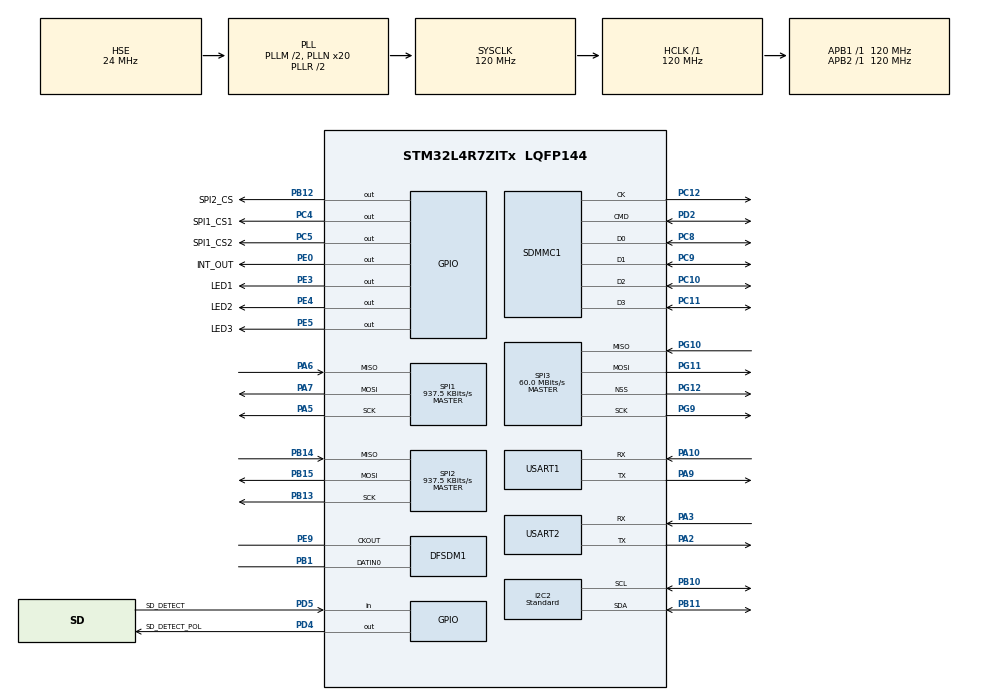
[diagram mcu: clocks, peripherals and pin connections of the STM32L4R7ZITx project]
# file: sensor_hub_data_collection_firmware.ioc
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ARM.CMSIS.5.6.0.CMSISJjDSP=Library
DFSDM1.Divider=40
DFSDM1.DmaMode_reg_FIL0=ENABLE
DFSDM1.FastMode_reg_FIL0=ENABLE
DFSDM1.Filter_regChannel_FIL0=DFSDM_CHANNEL_0
DFSDM1.Fosr_FIL0=68
DFSDM1.SincOrder_FIL0=DFSDM_FILTER_SINC3_ORDER
Dma.DFSDM1_FLT0.0.Direction=DMA_PERIPH_TO_MEMORY
Dma.DFSDM1_FLT0.0.EventEnable=DISABLE
Dma.DFSDM1_FLT0.0.Instance=DMA1_Channel1
Dma.DFSDM1_FLT0.0.MemDataAlignment=DMA_MDATAALIGN_WORD
Dma.DFSDM1_FLT0.0.MemInc=DMA_MINC_ENABLE
Dma.DFSDM1_FLT0.0.Mode=DMA_CIRCULAR
Dma.DFSDM1_FLT0.0.PeriphDataAlignment=DMA_PDATAALIGN_WORD
Dma.DFSDM1_FLT0.0.PeriphInc=DMA_PINC_DISABLE
Dma.DFSDM1_FLT0.0.Polarity=HAL_DMAMUX_REQUEST_GEN_RISING
Dma.DFSDM1_FLT0.0.Priority=DMA_PRIORITY_LOW
Dma.DFSDM1_FLT0.0.RequestNumber=1
Dma.DFSDM1_FLT0.0.SignalID=NONE
Dma.DFSDM1_FLT0.0.SyncEnable=DISABLE
Dma.DFSDM1_FLT0.0.SyncPolarity=HAL_DMAMUX_SYNC_NO_EVENT
Dma.DFSDM1_FLT0.0.SyncRequestNumber=1
Dma.DFSDM1_FLT0.0.SyncSignalID=NONE
Dma.Request0=DFSDM1_FLT0
Dma.Request1=SPI1_RX
Dma.Request2=SPI1_TX
Dma.Request3=SPI2_RX
Dma.Request4=SPI2_TX
Dma.SPI1_RX.1.Direction=DMA_PERIPH_TO_MEMORY
Dma.SPI1_RX.1.EventEnable=DISABLE
Dma.SPI1_RX.1.Instance=DMA1_Channel2
Dma.SPI1_RX.1.MemDataAlignment=DMA_MDATAALIGN_BYTE
Dma.SPI1_RX.1.MemInc=DMA_MINC_ENABLE
Dma.SPI1_RX.1.Mode=DMA_NORMAL
Dma.SPI1_RX.1.PeriphDataAlignment=DMA_PDATAALIGN_BYTE
Dma.SPI1_RX.1.PeriphInc=DMA_PINC_DISABLE
Dma.SPI1_RX.1.Polarity=HAL_DMAMUX_REQUEST_GEN_RISING
Dma.SPI1_RX.1.Priority=DMA_PRIORITY_LOW
Dma.SPI1_RX.1.RequestNumber=1
Dma.SPI1_RX.1.SignalID=NONE
Dma.SPI1_RX.1.SyncEnable=DISABLE
Dma.SPI1_RX.1.SyncPolarity=HAL_DMAMUX_SYNC_NO_EVENT
Dma.SPI1_RX.1.SyncRequestNumber=1
Dma.SPI1_RX.1.SyncSignalID=NONE
Dma.SPI1_TX.2.Direction=DMA_MEMORY_TO_PERIPH
Dma.SPI1_TX.2.EventEnable=DISABLE
Dma.SPI1_TX.2.Instance=DMA1_Channel3
Dma.SPI1_TX.2.MemDataAlignment=DMA_MDATAALIGN_BYTE
Dma.SPI1_TX.2.MemInc=DMA_MINC_ENABLE
Dma.SPI1_TX.2.Mode=DMA_NORMAL
Dma.SPI1_TX.2.PeriphDataAlignment=DMA_PDATAALIGN_BYTE
Dma.SPI1_TX.2.PeriphInc=DMA_PINC_DISABLE
Dma.SPI1_TX.2.Polarity=HAL_DMAMUX_REQUEST_GEN_RISING
Dma.SPI1_TX.2.Priority=DMA_PRIORITY_LOW
Dma.SPI1_TX.2.RequestNumber=1
Dma.SPI1_TX.2.SignalID=NONE
Dma.SPI1_TX.2.SyncEnable=DISABLE
Dma.SPI1_TX.2.SyncPolarity=HAL_DMAMUX_SYNC_NO_EVENT
Dma.SPI1_TX.2.SyncRequestNumber=1
Dma.SPI1_TX.2.SyncSignalID=NONE
Dma.SPI2_RX.3.Direction=DMA_PERIPH_TO_MEMORY
Dma.SPI2_RX.3.EventEnable=DISABLE
Dma.SPI2_RX.3.Instance=DMA1_Channel4
Dma.SPI2_RX.3.MemDataAlignment=DMA_MDATAALIGN_BYTE
Dma.SPI2_RX.3.MemInc=DMA_MINC_ENABLE
Dma.SPI2_RX.3.Mode=DMA_NORMAL
Dma.SPI2_RX.3.PeriphDataAlignment=DMA_PDATAALIGN_BYTE
Dma.SPI2_RX.3.PeriphInc=DMA_PINC_DISABLE
Dma.SPI2_RX.3.Polarity=HAL_DMAMUX_REQUEST_GEN_RISING
Dma.SPI2_RX.3.Priority=DMA_PRIORITY_LOW
Dma.SPI2_RX.3.RequestNumber=1
Dma.SPI2_RX.3.SignalID=NONE
Dma.SPI2_RX.3.SyncEnable=DISABLE
Dma.SPI2_RX.3.SyncPolarity=HAL_DMAMUX_SYNC_NO_EVENT
Dma.SPI2_RX.3.SyncRequestNumber=1
Dma.SPI2_RX.3.SyncSignalID=NONE
Dma.SPI2_TX.4.Direction=DMA_MEMORY_TO_PERIPH
Dma.SPI2_TX.4.EventEnable=DISABLE
Dma.SPI2_TX.4.Instance=DMA1_Channel5
Dma.SPI2_TX.4.MemDataAlignment=DMA_MDATAALIGN_BYTE
Dma.SPI2_TX.4.MemInc=DMA_MINC_ENABLE
Dma.SPI2_TX.4.Mode=DMA_NORMAL
Dma.SPI2_TX.4.PeriphDataAlignment=DMA_PDATAALIGN_BYTE
Dma.SPI2_TX.4.PeriphInc=DMA_PINC_DISABLE
Dma.SPI2_TX.4.Polarity=HAL_DMAMUX_REQUEST_GEN_RISING
Dma.SPI2_TX.4.Priority=DMA_PRIORITY_LOW
Dma.SPI2_TX.4.RequestNumber=1
Dma.SPI2_TX.4.SignalID=NONE
Dma.SPI2_TX.4.SyncEnable=DISABLE
Dma.SPI2_TX.4.SyncPolarity=HAL_DMAMUX_SYNC_NO_EVENT
Dma.SPI2_TX.4.SyncRequestNumber=1
Dma.SPI2_TX.4.SyncSignalID=NONE
FATFS.BSP.number=1
FATFS.USE_DMA_CODE_SD=1
FATFS._USE_LFN=2
FATFS._USE_MUTEX=1
FATFS0.BSP.STBoard=false
FATFS0.BSP.api=Unknown
FATFS0.BSP.instance=PD5
FATFS0.BSP.ip=GPIO
FATFS0.BSP.mode=Input
FATFS0.BSP.name=Detect_SDIO
FATFS0.BSP.solution=PD5
FREERTOS.BinarySemaphores01=spi1_sem,Dynamic,NULL,Depleted;spi2_sem,Dynamic,NULL,Depleted;i2c2_sem,Dynamic,NULL,Depleted
FREERTOS.CountingSemaphores01=file_system_ready,3,Dynamic,NULL,0;task_finished,3,Dynamic,NULL,0
FREERTOS.Mutexes01=fileMutex,Dynamic,NULL,Available
FREERTOS.Queues01=audioBufferReadyQueue,1,int32_t*,0,Dynamic,NULL,NULL;audio_file_empty_buf,32,float *,0,Dynamic,NULL,NULL;audio_file_full_buf,32,float *,0,Dynamic,NULL,NULL
FREERTOS.Tasks01=defaultTask,10,512,StartDefaultTask,Default,NULL,Dynamic,NULL,NULL;audio_buf_task,24,256,StartAudioBufTask,As external,NULL,Dynamic,NULL,NULL;audio_file_task,23,512,StartAudioFileTask,As external,NULL,Dynamic,NULL,NULL;mag_task,32,512,StartMagTask,As external,NULL,Dynamic,NULL,NULL;cam_task,22,1024,StartCamTask,As external,NULL,Dynamic,NULL,NULL
FREERTOS.configCHECK_FOR_STACK_OVERFLOW=2
FREERTOS.configENABLE_BACKWARD_COMPATIBILITY=0
FREERTOS.configENABLE_FPU=1
FREERTOS.configGENERATE_RUN_TIME_STATS=0
FREERTOS.configMAX_TASK_NAME_LEN=32
FREERTOS.configRECORD_STACK_HIGH_ADDRESS=1
FREERTOS.configTOTAL_HEAP_SIZE=100000
FREERTOS.configUSE_NEWLIB_REENTRANT=1
FREERTOS.configUSE_PREEMPTION=1
FREERTOS.configUSE_STATS_FORMATTING_FUNCTIONS=0
I2C2.I2C_Speed_Mode=I2C_Standard
I2C2.Timing=0x30A175AB
Mcu.Family=STM32L4
Mcu.Name=STM32L4R7ZITx
Mcu.Package=LQFP144
NVIC.DMA1_Channel1_IRQn=true\:7\:0\:true\:false\:true\:true\:false\:true\:true
NVIC.DMA1_Channel2_IRQn=true\:5\:0\:true\:false\:true\:true\:false\:true\:true
NVIC.DMA1_Channel3_IRQn=true\:5\:0\:true\:false\:true\:true\:false\:true\:true
NVIC.DMA1_Channel4_IRQn=true\:7\:0\:true\:false\:true\:true\:false\:true\:true
NVIC.DMA1_Channel5_IRQn=true\:7\:0\:true\:false\:true\:true\:false\:true\:true
NVIC.I2C2_ER_IRQn=true\:7\:0\:true\:false\:true\:true\:true\:true\:true
NVIC.I2C2_EV_IRQn=true\:7\:0\:true\:false\:true\:true\:true\:true\:true
NVIC.PriorityGroup=NVIC_PRIORITYGROUP_4
NVIC.SDMMC1_IRQn=true\:12\:0\:true\:false\:true\:true\:true\:true\:true
NVIC.TIM1_UP_TIM16_IRQn=true\:15\:0\:false\:false\:true\:false\:false\:true\:true
NVIC.TimeBase=TIM1_UP_TIM16_IRQn
NVIC.TimeBaseIP=TIM1
PA10.Mode=Asynchronous
PA10.Signal=USART1_RX
PA13\ (JTMS/SWDIO).Mode=Serial_Wire
PA13\ (JTMS/SWDIO).Signal=SYS_JTMS-SWDIO
PA14\ (JTCK/SWCLK).Mode=Serial_Wire
PA14\ (JTCK/SWCLK).Signal=SYS_JTCK-SWCLK
PA2.Mode=Asynchronous
PA2.Signal=USART2_TX
PA3.Mode=Asynchronous
PA3.Signal=USART2_RX
PA5.GPIO_Speed=GPIO_SPEED_FREQ_LOW
PA5.Mode=Full_Duplex_Master
PA5.Signal=SPI1_SCK
PA6.GPIO_Speed=GPIO_SPEED_FREQ_LOW
PA6.Mode=Full_Duplex_Master
PA6.Signal=SPI1_MISO
PA7.GPIO_Speed=GPIO_SPEED_FREQ_LOW
PA7.Mode=Full_Duplex_Master
PA7.Signal=SPI1_MOSI
PA9.Mode=Asynchronous
PA9.Signal=USART1_TX
PB1.Signal=S_DATAIN0DFSDM1
PB10.GPIO_Pu=GPIO_PULLUP
PB10.Mode=I2C
PB10.Signal=I2C2_SCL
PB11.GPIO_Pu=GPIO_PULLUP
PB11.Mode=I2C
PB11.Signal=I2C2_SDA
PB12.GPIO_Label=SPI2_CS
PB12.PinState=GPIO_PIN_SET
PB12.Signal=GPIO_Output
PB13.Mode=Full_Duplex_Master
PB13.Signal=SPI2_SCK
PB14.Mode=Full_Duplex_Master
PB14.Signal=SPI2_MISO
PB15.Mode=Full_Duplex_Master
PB15.Signal=SPI2_MOSI
PC10.GPIO_PuPd=GPIO_PULLUP
PC10.Mode=SD_4_bits_Wide_bus
PC10.Signal=SDMMC1_D2
PC11.GPIO_PuPd=GPIO_PULLUP
PC11.Mode=SD_4_bits_Wide_bus
PC11.Signal=SDMMC1_D3
PC12.Mode=SD_4_bits_Wide_bus
PC12.Signal=SDMMC1_CK
PC14-OSC32_IN\ (PC14).Mode=LSE-External-Oscillator
PC14-OSC32_IN\ (PC14).Signal=RCC_OSC32_IN
PC15-OSC32_OUT\ (PC15).Mode=LSE-External-Oscillator
PC15-OSC32_OUT\ (PC15).Signal=RCC_OSC32_OUT
PC4.GPIO_Label=SPI1_CS1
PC4.PinState=GPIO_PIN_SET
PC4.Signal=GPIO_Output
PC5.GPIO_Label=SPI1_CS2
PC5.PinState=GPIO_PIN_SET
PC5.Signal=GPIO_Output
PC8.GPIO_PuPd=GPIO_PULLUP
PC8.Mode=SD_4_bits_Wide_bus
PC8.Signal=SDMMC1_D0
PC9.GPIO_PuPd=GPIO_PULLUP
PC9.Mode=SD_4_bits_Wide_bus
PC9.Signal=SDMMC1_D1
PD2.GPIO_PuPd=GPIO_PULLUP
PD2.Mode=SD_4_bits_Wide_bus
PD2.Signal=SDMMC1_CMD
PD4.GPIO_Label=SD_DETECT_POL
PD4.PinState=GPIO_PIN_RESET
PD4.Signal=GPIO_Output
PD5.GPIO_Label=SD_DETECT
PD5.GPIO_PuPd=GPIO_PULLUP
PD5.Signal=GPIO_Input
PE0.GPIO_Label=INT_OUT
PE0.Signal=GPIO_Output
PE3.GPIO_Label=LED1
PE3.Signal=GPIO_Output
PE4.GPIO_Label=LED2
PE4.Signal=GPIO_Output
PE5.GPIO_Label=LED3
PE5.Signal=GPIO_Output
PE9.Signal=S_CKOUTDFSDM1
PG10.Mode=Full_Duplex_Master
PG10.Signal=SPI3_MISO
PG11.Mode=Full_Duplex_Master
PG11.Signal=SPI3_MOSI
PG12.Mode=NSS_Signal_Hard_Output
PG12.Signal=SPI3_NSS
PG9.Mode=Full_Duplex_Master
PG9.Signal=SPI3_SCK
PH0-OSC_IN\ (PH0).Mode=HSE-External-Oscillator
PH0-OSC_IN\ (PH0).Signal=RCC_OSC_IN
PH1-OSC_OUT\ (PH1).Mode=HSE-External-Oscillator
PH1-OSC_OUT\ (PH1).Signal=RCC_OSC_OUT
ProjectManager.HeapSize=0x400
ProjectManager.StackSize=0x800
ProjectManager.TargetToolchain=STM32CubeIDE
RCC.ADCFreq_Value=96000000
RCC.AHBFreq_Value=120000000
RCC.APB1Freq_Value=120000000
RCC.APB1TimFreq_Value=120000000
RCC.APB2Freq_Value=120000000
RCC.APB2TimFreq_Value=120000000
RCC.CortexFreq_Value=120000000
RCC.HCLKFreq_Value=120000000
RCC.HSE_VALUE=24000000
RCC.HSI48_VALUE=48000000
RCC.HSI_VALUE=16000000
RCC.LSE_Drive_Capability=RCC_LSEDRIVE_MEDIUMLOW
RCC.MSI_VALUE=4000000
RCC.PLLM1=2
RCC.PLLN=20
RCC.PLLSourceVirtual=RCC_PLLSOURCE_HSE
RCC.RTCClockSelection=RCC_RTCCLKSOURCE_LSE
RCC.SYSCLKFreq_VALUE=120000000
RCC.SYSCLKSource=RCC_SYSCLKSOURCE_PLLCLK
RCC.USBFreq_Value=96000000
RCC.VCOOutputFreq_Value=240000000
RTC.AsynchPrediv=127
SDMMC1.ClockDiv=3
SDMMC1.ClockPowerSave=SDMMC_CLOCK_POWER_SAVE_ENABLE
SDMMC1.HardwareFlowControl=SDMMC_HARDWARE_FLOW_CONTROL_DISABLE
SH.S_CKOUTDFSDM1.0=DFSDM1_CKOUT,PDM_SPI_input_from_ch0_and_internal_clock
SH.S_CKOUTDFSDM1.1=DFSDM1_CKOUT,CKOUT
SH.S_DATAIN0DFSDM1.0=DFSDM1_DATIN0,PDM_SPI_input_from_ch0_and_internal_clock
SPI1.BaudRatePrescaler=SPI_BAUDRATEPRESCALER_128
SPI1.CLKPhase=SPI_PHASE_2EDGE
SPI1.CLKPolarity=SPI_POLARITY_HIGH
SPI1.CalculateBaudRate=937.5 KBits/s
SPI1.DataSize=SPI_DATASIZE_8BIT
SPI1.Direction=SPI_DIRECTION_2LINES
SPI1.Mode=SPI_MODE_MASTER
SPI1.VirtualType=VM_MASTER
SPI2.BaudRatePrescaler=SPI_BAUDRATEPRESCALER_128
SPI2.CalculateBaudRate=937.5 KBits/s
SPI2.DataSize=SPI_DATASIZE_8BIT
SPI2.Direction=SPI_DIRECTION_2LINES
SPI2.Mode=SPI_MODE_MASTER
SPI2.NSSPMode=SPI_NSS_PULSE_ENABLE
SPI2.TIMode=SPI_TIMODE_DISABLE
SPI2.VirtualType=VM_MASTER
SPI3.CalculateBaudRate=60.0 MBits/s
SPI3.Direction=SPI_DIRECTION_2LINES
SPI3.Mode=SPI_MODE_MASTER
SPI3.VirtualNSS=VM_NSSHARD
SPI3.VirtualType=VM_MASTER
USART1.VirtualMode-Asynchronous=VM_ASYNC
USART2.VirtualMode-Asynchronous=VM_ASYNC
VP_ARM.CMSIS_VS_CMSISJjDSP_1.7.0_5.6.0.Mode=CMSISJjDSP
VP_FATFS_VS_SDIO.Mode=SDIO
VP_FREERTOS_VS_CMSIS_V2.Mode=CMSIS_V2
VP_RTC_VS_RTC_Activate.Mode=RTC_Enabled
VP_SYS_VS_tim1.Mode=TIM1
board=custom

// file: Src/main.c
/* USER CODE BEGIN Header */
/**
  ******************************************************************************
  * @file           : main.c
  * @brief          : Main program body
  ******************************************************************************
  * @attention
  *
  * Copyright (c) 2024 STMicroelectronics.
  * All rights reserved.
  *
  * This software is licensed under terms that can be found in the LICENSE file
  * in the root directory of this software component.
  * If no LICENSE file comes with this software, it is provided AS-IS.
  *
  ******************************************************************************
  */
/* USER CODE END Header */
#include "main.h"
#include "cmsis_os.h"
#include "dfsdm.h"
#include "dma.h"
#include "fatfs.h"
#include "i2c.h"
#include "rtc.h"
#include "sdmmc.h"
#include "spi.h"
#include "usart.h"
#include "gpio.h"

/* USER CODE BEGIN Includes */
#include "timestamp.h"
#include "freertos_vars.h"
#include "arducam.h"
#include <stdio.h>
#include <string.h>
#include <stdbool.h>

/* USER CODE END Includes */

void SystemClock_Config(void);
void MX_FREERTOS_Init(void);

int main(void)
{

  /* MCU Configuration--------------------------------------------------------*/

  /* Reset of all peripherals, Initializes the Flash interface and the Systick. */
  HAL_Init();

  /* Configure the system clock */
  SystemClock_Config();

  /* Initialize all configured peripherals */
  MX_GPIO_Init();
  MX_DMA_Init();
  MX_DFSDM1_Init();
  MX_I2C2_Init();
  MX_SDMMC1_SD_Init();
  MX_SPI1_Init();
  MX_SPI2_Init();
  MX_SPI3_Init();
  MX_FATFS_Init();
  MX_USART1_UART_Init();
  MX_USART2_UART_Init();
  MX_RTC_Init();
  /* USER CODE BEGIN 2 */
  printf("this firmware was compiled on %s at %s\n", __DATE__, __TIME__);

  //RTC time
#if 0 //set RTC time
  RTC_TimeTypeDef sTime = {0};
  RTC_DateTypeDef sDate = {0};
  HAL_RTC_GetTime(&hrtc, &sTime, RTC_FORMAT_BIN);
  HAL_RTC_GetDate(&hrtc, &sDate, RTC_FORMAT_BIN);
  sTime.Seconds = 20;
  sTime.Minutes = 19;
  sTime.Hours = 12;
  sDate.Date = 4;
  sDate.Month = 9;
  sDate.Year = 44;
  sDate.WeekDay = RTC_WEEKDAY_WEDNESDAY;
  HAL_RTC_SetTime(&hrtc, &sTime, RTC_FORMAT_BIN);
  HAL_RTC_SetDate(&hrtc, &sDate, RTC_FORMAT_BIN);
#endif
  TimeStamp_AquireTime();
  char timestamp[50]; //need 21 bytes
  TimeStamp_GetTimeStampString(timestamp);
  printf("timestamp is %s\n", timestamp);
  printf("rtc CR register value: %lu\n", hrtc.Instance->CR);

  //enable backup battery charging
  HAL_PWREx_EnableBatteryCharging(PWR_BATTERY_CHARGING_RESISTOR_5);

  //prime spi ports with dummy transfers
  const uint8_t tx_data_dummy[] = {0x0,0x0};
  uint8_t rx_data[] = {0,0};
  HAL_SPI_TransmitReceive(&hspi2, tx_data_dummy, rx_data, sizeof(tx_data_dummy), 1); //prime cam spi port
  HAL_SPI_TransmitReceive(&hspi1, tx_data_dummy, rx_data, sizeof(tx_data_dummy), 1); //prime mag spi port

  /* USER CODE END 2 */

  /* Init scheduler */
  osKernelInitialize();

  /* Call init function for freertos objects (in cmsis_os2.c) */
  MX_FREERTOS_Init();

  /* Start scheduler */
  osKernelStart();

  /* We should never get here as control is now taken by the scheduler */

  /* Infinite loop */
  while (1)
  {

  }
}

void SystemClock_Config(void)
{
  RCC_OscInitTypeDef RCC_OscInitStruct = {0};
  RCC_ClkInitTypeDef RCC_ClkInitStruct = {0};

  /** Configure the main internal regulator output voltage
  */
  if (HAL_PWREx_ControlVoltageScaling(PWR_REGULATOR_VOLTAGE_SCALE1_BOOST) != HAL_OK)
  {
    Error_Handler();
  }

  /** Configure LSE Drive Capability
  */
  HAL_PWR_EnableBkUpAccess();
  __HAL_RCC_LSEDRIVE_CONFIG(RCC_LSEDRIVE_MEDIUMLOW);

  /** Initializes the RCC Oscillators according to the specified parameters
  * in the RCC_OscInitTypeDef structure.
  */
  RCC_OscInitStruct.OscillatorType = RCC_OSCILLATORTYPE_HSE|RCC_OSCILLATORTYPE_LSE;
  RCC_OscInitStruct.HSEState = RCC_HSE_ON;
  RCC_OscInitStruct.LSEState = RCC_LSE_ON;
  RCC_OscInitStruct.PLL.PLLState = RCC_PLL_ON;
  RCC_OscInitStruct.PLL.PLLSource = RCC_PLLSOURCE_HSE;
  RCC_OscInitStruct.PLL.PLLM = 2;
  RCC_OscInitStruct.PLL.PLLN = 20;
  RCC_OscInitStruct.PLL.PLLP = RCC_PLLP_DIV2;
  RCC_OscInitStruct.PLL.PLLQ = RCC_PLLQ_DIV2;
  RCC_OscInitStruct.PLL.PLLR = RCC_PLLR_DIV2;
  if (HAL_RCC_OscConfig(&RCC_OscInitStruct) != HAL_OK)
  {
    Error_Handler();
  }

  /** Initializes the CPU, AHB and APB buses clocks
  */
  RCC_ClkInitStruct.ClockType = RCC_CLOCKTYPE_HCLK|RCC_CLOCKTYPE_SYSCLK
                              |RCC_CLOCKTYPE_PCLK1|RCC_CLOCKTYPE_PCLK2;
  RCC_ClkInitStruct.SYSCLKSource = RCC_SYSCLKSOURCE_PLLCLK;
  RCC_ClkInitStruct.AHBCLKDivider = RCC_SYSCLK_DIV1;
  RCC_ClkInitStruct.APB1CLKDivider = RCC_HCLK_DIV1;
  RCC_ClkInitStruct.APB2CLKDivider = RCC_HCLK_DIV1;

  if (HAL_RCC_ClockConfig(&RCC_ClkInitStruct, FLASH_LATENCY_5) != HAL_OK)
  {
    Error_Handler();
  }
}

/* USER CODE BEGIN 4 */

int _write(int file, char *ptr, int len)
{
  (void)file;

  HAL_UART_Transmit(&huart2, (const uint8_t *)ptr, len, 10);
  return len;
}

static inline void SpiCallback(SPI_HandleTypeDef *hspi) {
  if (hspi == &hspi1) { //mags
    osSemaphoreRelease(spi1_semHandle);
  } else if (hspi == &hspi2) { //cam
    osSemaphoreRelease(spi2_semHandle);
  }
}

void HAL_SPI_TxRxCpltCallback(SPI_HandleTypeDef *hspi) {
  SpiCallback(hspi);
}

void HAL_SPI_RxCpltCallback(SPI_HandleTypeDef *hspi) {
  SpiCallback(hspi);
}

void HAL_SPI_TxCpltCallback(SPI_HandleTypeDef *hspi) {
  SpiCallback(hspi);
}

void HAL_I2C_MasterTxCpltCallback(I2C_HandleTypeDef *hi2c) {
  if (hi2c == &hi2c2) {
    osSemaphoreRelease(i2c2_semHandle);
  }
}

void HAL_I2C_MasterRxCpltCallback(I2C_HandleTypeDef *hi2c) {
  if (hi2c == &hi2c2) {
    osSemaphoreRelease(i2c2_semHandle);
  }
}

void HAL_I2C_ErrorCallback(I2C_HandleTypeDef *hi2c) {
  printf("i2c error\n");
  if (hi2c == &hi2c2) {
    osSemaphoreRelease(i2c2_semHandle);
  }
}

/* USER CODE END 4 */

void HAL_TIM_PeriodElapsedCallback(TIM_HandleTypeDef *htim)
{
  if (htim->Instance == TIM1) {
    HAL_IncTick();
  }
}

void Error_Handler(void)
{
  __disable_irq();
  while (1)
  {
  }
}

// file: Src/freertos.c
/* USER CODE BEGIN Header */
/**
  ******************************************************************************
  * File Name          : freertos.c
  * Description        : Code for freertos applications
  ******************************************************************************
  * @attention
  *
  * Copyright (c) 2024 STMicroelectronics.
  * All rights reserved.
  *
  * This software is licensed under terms that can be found in the LICENSE file
  * in the root directory of this software component.
  * If no LICENSE file comes with this software, it is provided AS-IS.
  *
  ******************************************************************************
  */
/* USER CODE END Header */

#include "FreeRTOS.h"
#include "task.h"
#include "main.h"
#include "cmsis_os.h"

/* USER CODE BEGIN Includes */
#include "fatfs.h"
#include "spi.h"
#include <stdio.h>
#include <string.h>
/* USER CODE END Includes */

/* Definitions for defaultTask */
osThreadId_t defaultTaskHandle;
const osThreadAttr_t defaultTask_attributes = {
  .name = "defaultTask",
  .stack_size = 512 * 4,
  .priority = (osPriority_t) osPriorityLow2,
};
/* Definitions for audio_buf_task */
osThreadId_t audio_buf_taskHandle;
const osThreadAttr_t audio_buf_task_attributes = {
  .name = "audio_buf_task",
  .stack_size = 256 * 4,
  .priority = (osPriority_t) osPriorityNormal,
};
/* Definitions for audio_file_task */
osThreadId_t audio_file_taskHandle;
const osThreadAttr_t audio_file_task_attributes = {
  .name = "audio_file_task",
  .stack_size = 512 * 4,
  .priority = (osPriority_t) osPriorityBelowNormal7,
};
/* Definitions for mag_task */
osThreadId_t mag_taskHandle;
const osThreadAttr_t mag_task_attributes = {
  .name = "mag_task",
  .stack_size = 512 * 4,
  .priority = (osPriority_t) osPriorityAboveNormal,
};
/* Definitions for cam_task */
osThreadId_t cam_taskHandle;
const osThreadAttr_t cam_task_attributes = {
  .name = "cam_task",
  .stack_size = 1024 * 4,
  .priority = (osPriority_t) osPriorityBelowNormal6,
};
/* Definitions for audioBufferReadyQueue */
osMessageQueueId_t audioBufferReadyQueueHandle;
const osMessageQueueAttr_t audioBufferReadyQueue_attributes = {
  .name = "audioBufferReadyQueue"
};
/* Definitions for audio_file_empty_buf */
osMessageQueueId_t audio_file_empty_bufHandle;
const osMessageQueueAttr_t audio_file_empty_buf_attributes = {
  .name = "audio_file_empty_buf"
};
/* Definitions for audio_file_full_buf */
osMessageQueueId_t audio_file_full_bufHandle;
const osMessageQueueAttr_t audio_file_full_buf_attributes = {
  .name = "audio_file_full_buf"
};
/* Definitions for fileMutex */
osMutexId_t fileMutexHandle;
const osMutexAttr_t fileMutex_attributes = {
  .name = "fileMutex"
};
/* Definitions for spi1_sem */
osSemaphoreId_t spi1_semHandle;
const osSemaphoreAttr_t spi1_sem_attributes = {
  .name = "spi1_sem"
};
/* Definitions for spi2_sem */
osSemaphoreId_t spi2_semHandle;
const osSemaphoreAttr_t spi2_sem_attributes = {
  .name = "spi2_sem"
};
/* Definitions for i2c2_sem */
osSemaphoreId_t i2c2_semHandle;
const osSemaphoreAttr_t i2c2_sem_attributes = {
  .name = "i2c2_sem"
};
/* Definitions for file_system_ready */
osSemaphoreId_t file_system_readyHandle;
const osSemaphoreAttr_t file_system_ready_attributes = {
  .name = "file_system_ready"
};
/* Definitions for task_finished */
osSemaphoreId_t task_finishedHandle;
const osSemaphoreAttr_t task_finished_attributes = {
  .name = "task_finished"
};

void StartDefaultTask(void *argument);
extern void StartAudioBufTask(void *argument);
extern void StartAudioFileTask(void *argument);
extern void StartMagTask(void *argument);
extern void StartCamTask(void *argument);

void MX_FREERTOS_Init(void); /* (MISRA C 2004 rule 8.1) */

/* Hook prototypes */
void vApplicationStackOverflowHook(TaskHandle_t xTask, signed char *pcTaskName);

/* USER CODE BEGIN 4 */
void vApplicationStackOverflowHook(TaskHandle_t xTask, signed char *pcTaskName)
{
   /* Run time stack overflow checking is performed if
   configCHECK_FOR_STACK_OVERFLOW is defined to 1 or 2. This hook function is
   called if a stack overflow is detected. */
  printf("stack overflow detected on task: %s\n", pcTaskName);
}

static void SystemShutdown(void) {
  osKernelLock();
  __disable_irq();
  //set INT_OUT pin to inform Particle that power to Sensor Hub can be shut off
  HAL_GPIO_WritePin(INT_OUT_GPIO_Port, INT_OUT_Pin, GPIO_PIN_SET);
  //other power modes could save more power, but then debugger can't connect
  HAL_PWR_EnterSLEEPMode(PWR_LOWPOWERREGULATOR_ON, PWR_SLEEPENTRY_WFI);
  osThreadExit();
}
/* USER CODE END 4 */

void MX_FREERTOS_Init(void) {
  /* Create the mutex(es) */
  /* creation of fileMutex */
  fileMutexHandle = osMutexNew(&fileMutex_attributes);

  /* Create the semaphores(s) */
  /* creation of spi1_sem */
  spi1_semHandle = osSemaphoreNew(1, 0, &spi1_sem_attributes);

  /* creation of spi2_sem */
  spi2_semHandle = osSemaphoreNew(1, 0, &spi2_sem_attributes);

  /* creation of i2c2_sem */
  i2c2_semHandle = osSemaphoreNew(1, 0, &i2c2_sem_attributes);

  /* creation of file_system_ready */
  file_system_readyHandle = osSemaphoreNew(3, 0, &file_system_ready_attributes);

  /* creation of task_finished */
  task_finishedHandle = osSemaphoreNew(3, 0, &task_finished_attributes);

  /* Create the queue(s) */
  /* creation of audioBufferReadyQueue */
  audioBufferReadyQueueHandle = osMessageQueueNew (1, sizeof(int32_t*), &audioBufferReadyQueue_attributes);

  /* creation of audio_file_empty_buf */
  audio_file_empty_bufHandle = osMessageQueueNew (32, sizeof(float *), &audio_file_empty_buf_attributes);

  /* creation of audio_file_full_buf */
  audio_file_full_bufHandle = osMessageQueueNew (32, sizeof(float *), &audio_file_full_buf_attributes);

  /* Create the thread(s) */
  /* creation of defaultTask */
  defaultTaskHandle = osThreadNew(StartDefaultTask, NULL, &defaultTask_attributes);

  /* creation of audio_buf_task */
  audio_buf_taskHandle = osThreadNew(StartAudioBufTask, NULL, &audio_buf_task_attributes);

  /* creation of audio_file_task */
  audio_file_taskHandle = osThreadNew(StartAudioFileTask, NULL, &audio_file_task_attributes);

  /* creation of mag_task */
  mag_taskHandle = osThreadNew(StartMagTask, NULL, &mag_task_attributes);

  /* creation of cam_task */
  cam_taskHandle = osThreadNew(StartCamTask, NULL, &cam_task_attributes);

}

void StartDefaultTask(void *argument)
{
  /* USER CODE BEGIN StartDefaultTask */
  //mount sd card
  FRESULT res = f_mount(&SDFatFS, (TCHAR const*)SDPath, 0);
  if (res) {
    printf("sd mount failed with result: %d\n", res);
    osThreadExit();
  }

#if 0 //reformat sd card
  uint8_t rtext[_MAX_SS];
  res = f_mkfs((TCHAR const*)SDPath, FM_FAT32, 0, rtext, sizeof(rtext));
  if (res) {
    printf("sd reformat failed with result: %d\n", res);
  } else {
    printf("sd card reformated\n");
  }
  osThreadExit();
#endif

  DWORD nclst;
  FATFS *SDFatFS_ptr = &SDFatFS;
  float free_space_MB;
  f_getfree((TCHAR const*)SDPath, &nclst, &SDFatFS_ptr);
  free_space_MB = (float)nclst * SDFatFS.csize * 512 / (1 << 20);
  printf("freespace: %.2fMB\n", free_space_MB);
  if (free_space_MB < 5) {
    //turn on red LED to indicate SD card error
    HAL_GPIO_WritePin(GPIOE, LED3_Pin, GPIO_PIN_SET);
    printf("ERROR: sd card has less than 5 MB free\n");
    osDelay(25);
    SystemShutdown();
  }

  while(osSemaphoreRelease(file_system_readyHandle) == osOK); //inform all threads that the file system is ready

  //flash green led to indicate no issues with SD card
  HAL_GPIO_WritePin(GPIOE, LED1_Pin, GPIO_PIN_SET);
  osDelay(50);
  HAL_GPIO_WritePin(GPIOE, LED1_Pin, GPIO_PIN_RESET);

  //wait for all data collection threads to indicate they are done
  for (int i = 0; i < 3; i++) { //audio, mag, and camera threads all indicate they are finished
    osSemaphoreAcquire(task_finishedHandle, osWaitForever);
  }

  //unmount sd card
  f_mount(&SDFatFS, (TCHAR const*)NULL, 0);

  //turn on orange LED to indicate processing finished
  HAL_GPIO_WritePin(GPIOE, LED2_Pin, GPIO_PIN_SET);
  printf("all processes finished after %lu ticks\n", HAL_GetTick());
  SystemShutdown();
  /* USER CODE END StartDefaultTask */
}
